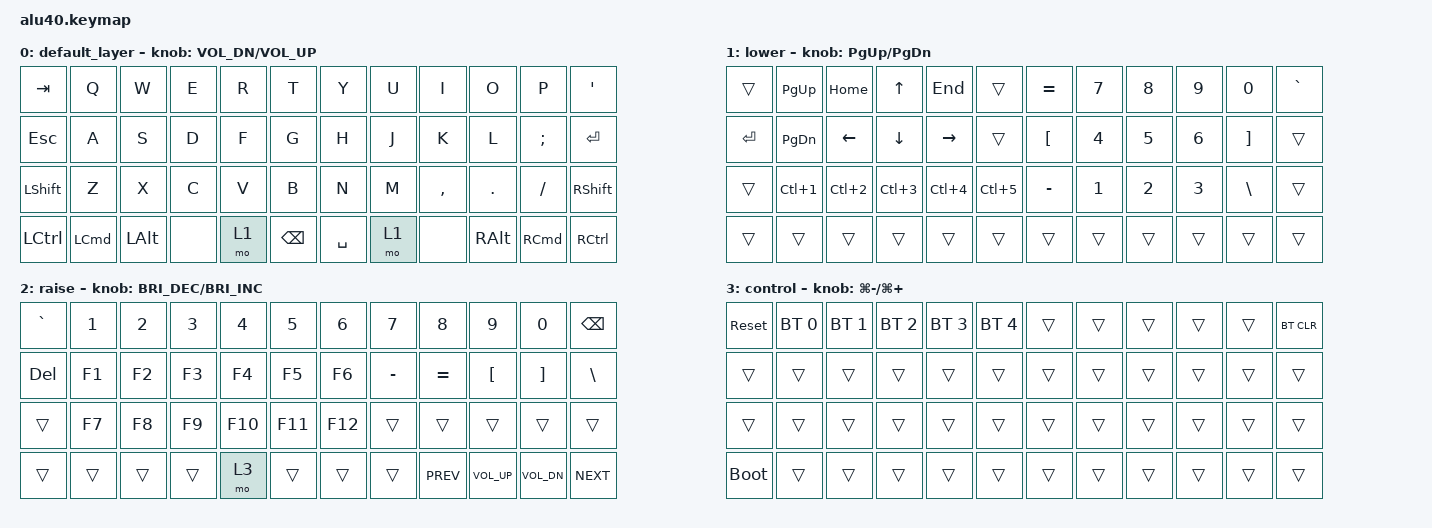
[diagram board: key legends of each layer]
/*
 * Copyright (c) 2022 The ZMK Contributors
 *
 * SPDX-License-Identifier: MIT
 */

#include <behaviors.dtsi>
#include <dt-bindings/zmk/bt.h>
#include <dt-bindings/zmk/keys.h>
#include <dt-bindings/zmk/rgb.h>

/ {
    combos {
        compatible = "zmk,combos";

        control_layer {
            bindings = <&mo 3>;
            key-positions = <40 43>;
        };
    };

    keymap {
        compatible = "zmk,keymap";

        default_layer {
            // -----------------------------------------------------------------------------------------
            // | ESC/~ |  Q   |  W   |  E   |  R   |  T   |   Y   |  U    |  I   |  O   |   P   | BSPC  |
            // | TAB   |  A   |  S   |  D   |  F   |  G   |   H   |  J    |  K   |  L   |   ;   |  '    |
            // | SHIFT |  Z   |  X   |  C   |  V   |  B   |   N   |  M    |  ,   |  .   |   /   |RET/SFT|
            // | PLAY  | LCTL | LALT | LGUI | LOWR |     SPACE    |  RAIS | LARW | UARW | DARW  |  RARW |

            bindings = <
         &kp TAB     &kp Q     &kp W  &kp E  &kp R          &kp T      &kp Y  &kp U      &kp I          &kp O     &kp P         &kp APOS
      &kp ESCAPE     &kp A     &kp S  &kp D  &kp F          &kp G      &kp H  &kp J      &kp K          &kp L  &kp SEMI        &kp ENTER
       &kp LSHFT     &kp Z     &kp X  &kp C  &kp V          &kp B      &kp N  &kp M  &kp COMMA        &kp DOT  &kp FSLH  &kp RIGHT_SHIFT
&kp LEFT_CONTROL  &kp LCMD  &kp LALT  &none  &mo 1  &kp BACKSPACE  &kp SPACE  &mo 1      &none  &kp RIGHT_ALT  &kp RCMD        &kp RCTRL
            >;

            sensor-bindings = <&inc_dec_kp C_VOL_DN C_VOL_UP>;
        };

        lower {
            bindings = <
   &trans       &kp PAGE_UP          &kp HOME      &kp UP_ARROW           &kp END            &trans         &kp EQUAL  &kp NUMBER_7  &kp NUMBER_8  &kp NUMBER_9             &kp N0  &kp GRAVE
&kp ENTER     &kp PAGE_DOWN          &kp LEFT          &kp DOWN         &kp RIGHT            &trans  &kp LEFT_BRACKET  &kp NUMBER_4  &kp NUMBER_5  &kp NUMBER_6  &kp RIGHT_BRACKET     &trans
   &trans  &kp LC(NUMBER_1)  &kp LC(NUMBER_2)  &kp LC(NUMBER_3)  &kp LC(NUMBER_4)  &kp LC(NUMBER_5)         &kp MINUS  &kp NUMBER_1  &kp NUMBER_2  &kp NUMBER_3      &kp BACKSLASH     &trans
   &trans            &trans            &trans            &trans            &trans            &trans            &trans        &trans        &trans        &trans             &trans     &trans
            >;

            sensor-bindings = <&inc_dec_kp PG_UP PG_DN>;
        };

        raise {
            bindings = <
&kp GRAVE  &kp N1  &kp N2  &kp N3   &kp N4   &kp N5   &kp N6     &kp N7      &kp N8        &kp N9        &kp N0    &kp BSPC
  &kp DEL  &kp F1  &kp F2  &kp F3   &kp F4   &kp F5   &kp F6  &kp MINUS   &kp EQUAL      &kp LBKT      &kp RBKT    &kp BSLH
   &trans  &kp F7  &kp F8  &kp F9  &kp F10  &kp F11  &kp F12     &trans      &trans        &trans        &trans      &trans
   &trans  &trans  &trans  &trans    &mo 3   &trans   &trans     &trans  &kp C_PREV  &kp C_VOL_UP  &kp C_VOL_DN  &kp C_NEXT
            >;

            sensor-bindings = <&inc_dec_kp C_BRI_DEC C_BRI_INC>;
        };

        control {
            bindings = <
     &sys_reset     &bt BT_SEL 0     &bt BT_SEL 1     &bt BT_SEL 2     &bt BT_SEL 3     &bt BT_SEL 4  &trans  &trans      &trans  &trans  &trans  &bt BT_CLR
         &trans           &trans           &trans           &trans           &trans           &trans  &trans  &trans      &trans  &trans  &trans      &trans
         &trans           &trans           &trans           &trans           &trans           &trans  &trans  &trans      &trans  &trans  &trans      &trans
    &bootloader           &trans           &trans           &trans           &trans           &trans  &trans  &trans      &trans  &trans  &trans      &trans
            >;

            sensor-bindings = <&inc_dec_kp LG(MINUS) LG(PLUS)>;
        };
    };
};
